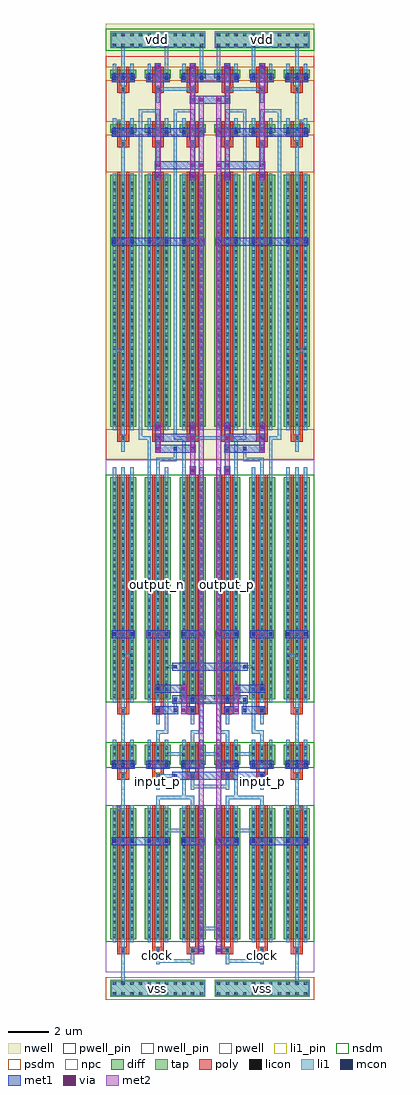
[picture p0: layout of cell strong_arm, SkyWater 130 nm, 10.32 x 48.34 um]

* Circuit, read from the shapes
.subckt strong_arm clock input_n input_p output_n output_p vdd vss
XM1 vss vss vss vss sky130_fd_pr__nfet_01v8 w=6.5 l=0.15 m=4
XM2 vss vss vss vss sky130_fd_pr__nfet_01v8 w=1 l=0.15 m=4
XM3 vss vss vss vss sky130_fd_pr__nfet_01v8 w=11 l=0.15 m=4
XM4 strong_arm_half_0/tail_d clock vss vss sky130_fd_pr__nfet_01v8 w=6.5 l=0.15 m=8
XM5 strong_arm_half_0/input_d_n input_p strong_arm_half_0/tail_d vss sky130_fd_pr__nfet_01v8 w=1 l=0.15 m=4
XM6 output_n output_p strong_arm_half_0/input_d_n vss sky130_fd_pr__nfet_01v8 w=11 l=0.15 m=4
XM7 strong_arm_half_0/input_d_p input_n strong_arm_half_0/tail_d vss sky130_fd_pr__nfet_01v8 w=1 l=0.15 m=2
XM8 output_p output_n strong_arm_half_0/input_d_p vss sky130_fd_pr__nfet_01v8 w=11 l=0.15 m=2
XM9 strong_arm_half_1/input_d_p input_n strong_arm_half_0/tail_d vss sky130_fd_pr__nfet_01v8 w=1 l=0.15 m=2
XM10 output_p output_n strong_arm_half_1/input_d_p vss sky130_fd_pr__nfet_01v8 w=11 l=0.15 m=2
XM11 vdd vdd vdd vdd sky130_fd_pr__pfet_01v8 w=12.5 l=0.15 m=4
XM12 vdd vdd vdd vdd sky130_fd_pr__pfet_01v8 w=0.42 l=0.15 m=8
XM13 output_n output_p vdd vdd sky130_fd_pr__pfet_01v8 w=12.5 l=0.15 m=4
XM14 strong_arm_half_0/input_d_n clock vdd vdd sky130_fd_pr__pfet_01v8 w=0.42 l=0.15 m=4
XM15 output_n clock vdd vdd sky130_fd_pr__pfet_01v8 w=0.42 l=0.15 m=4
XM16 output_p output_n vdd vdd sky130_fd_pr__pfet_01v8 w=12.5 l=0.15 m=4
XM17 strong_arm_half_0/input_d_p clock vdd vdd sky130_fd_pr__pfet_01v8 w=0.42 l=0.15 m=2
XM18 output_p clock vdd vdd sky130_fd_pr__pfet_01v8 w=0.42 l=0.15 m=4
XM19 strong_arm_half_1/input_d_p clock vdd vdd sky130_fd_pr__pfet_01v8 w=0.42 l=0.15 m=2
.ends

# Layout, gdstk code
from math import pi, radians
import gdstk
lib = gdstk.Library(unit=1e-6, precision=1e-09)
def R(c, l, rs):  # rectangles x0, y0, x1, y1
    for r in rs: c.add(gdstk.rectangle(r[:2], r[2:], *l))
def A(c, l, x, y, w, h, nx, ny, dx, dy):  # array of equal rectangles
    R(c, l, [(x+i*dx, y+j*dy, x+i*dx+w, y+j*dy+h) for i in range(nx) for j in range(ny)])
nwell_pin = (64, 16)
nwell = (64, 20)
pwell = (64, 44)
diff = (65, 20)
tap = (65, 44)
poly = (66, 20)
licon = (66, 44)
li1_pin = (67, 16)
li1 = (67, 20)
mcon = (67, 44)
met1 = (68, 20)
via = (68, 44)
met2 = (69, 20)
nsdm = (93, 44)
psdm = (94, 20)
npc = (95, 20)
pwell_pin = (122, 16)

ptap_tile_x11_y2 = lib.new_cell('ptap_tile_x11_y2')
R(ptap_tile_x11_y2, tap, [(-0.205,-0.15,4.505,0.69)])
A(ptap_tile_x11_y2, licon, -0.085, -0.085, 0.17, 0.17, 11, 2, 0.43, 0.54)
R(ptap_tile_x11_y2, li1_pin, [(-0.165,-0.085,4.465,0.625)])
R(ptap_tile_x11_y2, li1, [(-0.165,-0.085,4.465,0.625)])
R(ptap_tile_x11_y2, psdm, [(-0.43,-0.28,4.73,0.82)])
ptap_tile_x11_y2.add(gdstk.Label('vnb', (2.15,0.27), layer=67, texttype=5))

ptap_tile = lib.new_cell('ptap_tile')
R(ptap_tile, li1_pin, [(-0.165,-0.085,4.465,0.625)])
ptap_tile.add(gdstk.Reference(ptap_tile_x11_y2, (0,0)))
ptap_tile.add(gdstk.Label('x', (2.15,0.27), layer=67, texttype=5))

ntap_tile_x11_y2 = lib.new_cell('ntap_tile_x11_y2')
R(ntap_tile_x11_y2, nwell, [(-0.43,-0.54,4.73,1.08)])
R(ntap_tile_x11_y2, tap, [(-0.205,-0.15,4.505,0.69)])
A(ntap_tile_x11_y2, licon, -0.085, -0.085, 0.17, 0.17, 11, 2, 0.43, 0.54)
R(ntap_tile_x11_y2, li1_pin, [(-0.165,-0.085,4.465,0.625)])
R(ntap_tile_x11_y2, li1, [(-0.165,-0.085,4.465,0.625)])
R(ntap_tile_x11_y2, nsdm, [(-0.43,-0.28,4.73,0.82)])
ntap_tile_x11_y2.add(gdstk.Label('vpb', (2.15,0.27), layer=67, texttype=5))

ntap_tile = lib.new_cell('ntap_tile')
R(ntap_tile, li1_pin, [(-0.165,-0.085,4.465,0.625)])
ntap_tile.add(gdstk.Reference(ntap_tile_x11_y2, (0,0)))
ntap_tile.add(gdstk.Label('x', (2.15,0.27), layer=67, texttype=5))

nmos_tile_w6500_l150_nf2 = lib.new_cell('nmos_tile_w6500_l150_nf2')
R(nmos_tile_w6500_l150_nf2, pwell, [(0,-1.62,1.72,7.02)])
R(nmos_tile_w6500_l150_nf2, diff, [(0.215,0,1.505,6.5)])
R(nmos_tile_w6500_l150_nf2, poly, [(0.57,-0.735,0.945,-0.385), (0.57,-0.735,0.72,6.63), (0.775,-0.735,1.15,-0.385), (1,-0.735,1.15,6.63)])
A(nmos_tile_w6500_l150_nf2, licon, 0.345, 0.08, 0.17, 0.17, 3, 19, 0.43, 0.34)
R(nmos_tile_w6500_l150_nf2, licon, [(0.775,-0.645,0.945,-0.475)])
A(nmos_tile_w6500_l150_nf2, li1_pin, 0.345, -0.155, 0.17, 6.79, 3, 1, 0.43, 0)
R(nmos_tile_w6500_l150_nf2, li1_pin, [(0.775,-1.235,0.945,-0.385)])
A(nmos_tile_w6500_l150_nf2, li1, 0.345, -0.155, 0.17, 6.79, 3, 1, 0.43, 0)
R(nmos_tile_w6500_l150_nf2, li1, [(0.775,-1.235,0.945,-0.385)])
R(nmos_tile_w6500_l150_nf2, nsdm, [(0,-0.13,1.72,6.63)])
R(nmos_tile_w6500_l150_nf2, npc, [(0.675,-0.745,1.045,-0.375)])
R(nmos_tile_w6500_l150_nf2, pwell_pin, [(0,-1.62,1.72,7.02)])
nmos_tile_w6500_l150_nf2.add(gdstk.Label('sd_0', (0.43,3.24), layer=67, texttype=5))
nmos_tile_w6500_l150_nf2.add(gdstk.Label('sd_1', (0.86,3.24), layer=67, texttype=5))
nmos_tile_w6500_l150_nf2.add(gdstk.Label('sd_2', (1.29,3.24), layer=67, texttype=5))
nmos_tile_w6500_l150_nf2.add(gdstk.Label('g_0', (0.86,-0.81), layer=67, texttype=5))
nmos_tile_w6500_l150_nf2.add(gdstk.Label('b', (0.86,2.7), layer=64, texttype=59))

two_finger_mos_tile = lib.new_cell('two_finger_mos_tile')
A(two_finger_mos_tile, li1_pin, 0.345, -0.155, 0.17, 6.79, 3, 1, 0.43, 0)
R(two_finger_mos_tile, li1_pin, [(0.775,-1.235,0.945,-0.385)])
R(two_finger_mos_tile, li1, [(0.345,4.775,0.515,4.945), (0.345,4.775,0.515,4.945), (1.205,4.775,1.375,4.945), (1.205,4.775,1.375,4.945)])
R(two_finger_mos_tile, mcon, [(0.345,4.775,0.515,4.945), (1.205,4.775,1.375,4.945)])
R(two_finger_mos_tile, met1, [(0.285,4.66,0.575,5.06), (0.345,4.66,0.945,5.06), (0.775,4.66,1.375,5.06), (1.145,4.66,1.435,5.06)])
R(two_finger_mos_tile, pwell_pin, [(0,-1.62,1.72,7.02)])
two_finger_mos_tile.add(gdstk.Reference(nmos_tile_w6500_l150_nf2, (0,0)))
two_finger_mos_tile.add(gdstk.Label('d', (0.86,3.24), layer=67, texttype=5))
two_finger_mos_tile.add(gdstk.Label('g', (0.86,-0.81), layer=67, texttype=5))
two_finger_mos_tile.add(gdstk.Label('s', (1.29,3.24), layer=67, texttype=5))
two_finger_mos_tile.add(gdstk.Label('s', (0.43,3.24), layer=67, texttype=5))
two_finger_mos_tile.add(gdstk.Label('b', (0.86,2.7), layer=64, texttype=59))

nmos_tile_w1000_l150_nf2 = lib.new_cell('nmos_tile_w1000_l150_nf2')
R(nmos_tile_w1000_l150_nf2, pwell, [(0,-1.62,1.72,1.62)])
R(nmos_tile_w1000_l150_nf2, diff, [(0.215,0,1.505,1)])
R(nmos_tile_w1000_l150_nf2, poly, [(0.57,-0.735,0.945,-0.385), (0.57,-0.735,0.72,1.13), (0.775,-0.735,1.15,-0.385), (1,-0.735,1.15,1.13)])
A(nmos_tile_w1000_l150_nf2, licon, 0.345, 0.08, 0.17, 0.17, 3, 3, 0.43, 0.34)
R(nmos_tile_w1000_l150_nf2, licon, [(0.775,-0.645,0.945,-0.475)])
A(nmos_tile_w1000_l150_nf2, li1_pin, 0.345, -0.155, 0.17, 1.39, 3, 1, 0.43, 0)
R(nmos_tile_w1000_l150_nf2, li1_pin, [(0.775,-1.235,0.945,-0.385)])
A(nmos_tile_w1000_l150_nf2, li1, 0.345, -0.155, 0.17, 1.39, 3, 1, 0.43, 0)
R(nmos_tile_w1000_l150_nf2, li1, [(0.775,-1.235,0.945,-0.385)])
R(nmos_tile_w1000_l150_nf2, nsdm, [(0,-0.13,1.72,1.13)])
R(nmos_tile_w1000_l150_nf2, npc, [(0.675,-0.745,1.045,-0.375)])
R(nmos_tile_w1000_l150_nf2, pwell_pin, [(0,-1.62,1.72,1.62)])
nmos_tile_w1000_l150_nf2.add(gdstk.Label('sd_0', (0.43,0.54), layer=67, texttype=5))
nmos_tile_w1000_l150_nf2.add(gdstk.Label('sd_1', (0.86,0.54), layer=67, texttype=5))
nmos_tile_w1000_l150_nf2.add(gdstk.Label('sd_2', (1.29,0.54), layer=67, texttype=5))
nmos_tile_w1000_l150_nf2.add(gdstk.Label('g_0', (0.86,-0.81), layer=67, texttype=5))
nmos_tile_w1000_l150_nf2.add(gdstk.Label('b', (0.86,0), layer=64, texttype=59))

two_finger_mos_tile_1 = lib.new_cell('two_finger_mos_tile_1')
A(two_finger_mos_tile_1, li1_pin, 0.345, -0.155, 0.17, 1.39, 3, 1, 0.43, 0)
R(two_finger_mos_tile_1, li1_pin, [(0.775,-1.235,0.945,-0.385)])
R(two_finger_mos_tile_1, li1, [(0.345,-0.085,0.515,0.085), (0.345,-0.085,0.515,0.085), (1.205,-0.085,1.375,0.085), (1.205,-0.085,1.375,0.085)])
R(two_finger_mos_tile_1, mcon, [(0.345,-0.085,0.515,0.085), (1.205,-0.085,1.375,0.085)])
R(two_finger_mos_tile_1, met1, [(0.285,-0.2,0.575,0.2), (0.345,-0.2,0.945,0.2), (0.775,-0.2,1.375,0.2), (1.145,-0.2,1.435,0.2)])
R(two_finger_mos_tile_1, pwell_pin, [(0,-1.62,1.72,1.62)])
two_finger_mos_tile_1.add(gdstk.Reference(nmos_tile_w1000_l150_nf2, (0,0)))
two_finger_mos_tile_1.add(gdstk.Label('d', (0.86,0.54), layer=67, texttype=5))
two_finger_mos_tile_1.add(gdstk.Label('g', (0.86,-0.81), layer=67, texttype=5))
two_finger_mos_tile_1.add(gdstk.Label('s', (1.29,0.54), layer=67, texttype=5))
two_finger_mos_tile_1.add(gdstk.Label('s', (0.43,0.54), layer=67, texttype=5))
two_finger_mos_tile_1.add(gdstk.Label('b', (0.86,0), layer=64, texttype=59))

nmos_tile_w11000_l150_nf = lib.new_cell('nmos_tile_w11000_l150_nf2')
R(nmos_tile_w11000_l150_nf, pwell, [(0,-1.62,1.72,11.88)])
R(nmos_tile_w11000_l150_nf, diff, [(0.215,0,1.505,11)])
R(nmos_tile_w11000_l150_nf, poly, [(0.57,-0.735,0.945,-0.385), (0.57,-0.735,0.72,11.13), (0.775,-0.735,1.15,-0.385), (1,-0.735,1.15,11.13)])
A(nmos_tile_w11000_l150_nf, licon, 0.345, 0.08, 0.17, 0.17, 3, 32, 0.43, 0.34)
R(nmos_tile_w11000_l150_nf, licon, [(0.775,-0.645,0.945,-0.475)])
A(nmos_tile_w11000_l150_nf, li1_pin, 0.345, -0.155, 0.17, 11.65, 3, 1, 0.43, 0)
R(nmos_tile_w11000_l150_nf, li1_pin, [(0.775,-1.235,0.945,-0.385)])
A(nmos_tile_w11000_l150_nf, li1, 0.345, -0.155, 0.17, 11.65, 3, 1, 0.43, 0)
R(nmos_tile_w11000_l150_nf, li1, [(0.775,-1.235,0.945,-0.385)])
R(nmos_tile_w11000_l150_nf, nsdm, [(0,-0.13,1.72,11.13)])
R(nmos_tile_w11000_l150_nf, npc, [(0.675,-0.745,1.045,-0.375)])
R(nmos_tile_w11000_l150_nf, pwell_pin, [(0,-1.62,1.72,11.88)])
nmos_tile_w11000_l150_nf.add(gdstk.Label('sd_0', (0.43,5.67), layer=67, texttype=5))
nmos_tile_w11000_l150_nf.add(gdstk.Label('sd_1', (0.86,5.67), layer=67, texttype=5))
nmos_tile_w11000_l150_nf.add(gdstk.Label('sd_2', (1.29,5.67), layer=67, texttype=5))
nmos_tile_w11000_l150_nf.add(gdstk.Label('g_0', (0.86,-0.81), layer=67, texttype=5))
nmos_tile_w11000_l150_nf.add(gdstk.Label('b', (0.86,5.13), layer=64, texttype=59))

two_finger_mos_tile_2 = lib.new_cell('two_finger_mos_tile_2')
A(two_finger_mos_tile_2, li1_pin, 0.345, -0.155, 0.17, 11.65, 3, 1, 0.43, 0)
R(two_finger_mos_tile_2, li1_pin, [(0.775,-1.235,0.945,-0.385)])
R(two_finger_mos_tile_2, li1, [(0.345,3.155,0.515,3.325), (0.345,3.155,0.515,3.325), (1.205,3.155,1.375,3.325), (1.205,3.155,1.375,3.325)])
R(two_finger_mos_tile_2, mcon, [(0.345,3.155,0.515,3.325), (1.205,3.155,1.375,3.325)])
R(two_finger_mos_tile_2, met1, [(0.285,3.04,0.575,3.44), (0.345,3.04,0.945,3.44), (0.775,3.04,1.375,3.44), (1.145,3.04,1.435,3.44)])
R(two_finger_mos_tile_2, pwell_pin, [(0,-1.62,1.72,11.88)])
two_finger_mos_tile_2.add(gdstk.Reference(nmos_tile_w11000_l150_nf, (0,0)))
two_finger_mos_tile_2.add(gdstk.Label('d', (0.86,5.67), layer=67, texttype=5))
two_finger_mos_tile_2.add(gdstk.Label('g', (0.86,-0.81), layer=67, texttype=5))
two_finger_mos_tile_2.add(gdstk.Label('s', (1.29,5.67), layer=67, texttype=5))
two_finger_mos_tile_2.add(gdstk.Label('s', (0.43,5.67), layer=67, texttype=5))
two_finger_mos_tile_2.add(gdstk.Label('b', (0.86,5.13), layer=64, texttype=59))

pmos_tile_w12500_l150_nf = lib.new_cell('pmos_tile_w12500_l150_nf2')
R(pmos_tile_w12500_l150_nf, nwell_pin, [(0,-1.62,1.72,12.96)])
R(pmos_tile_w12500_l150_nf, nwell, [(0,-1.62,1.72,12.96)])
R(pmos_tile_w12500_l150_nf, diff, [(0.215,0,1.505,12.5)])
R(pmos_tile_w12500_l150_nf, poly, [(0.57,-0.735,0.945,-0.385), (0.57,-0.735,0.72,12.63), (0.775,-0.735,1.15,-0.385), (1,-0.735,1.15,12.63)])
A(pmos_tile_w12500_l150_nf, licon, 0.345, 0.08, 0.17, 0.17, 3, 36, 0.43, 0.34)
R(pmos_tile_w12500_l150_nf, licon, [(0.775,-0.645,0.945,-0.475)])
A(pmos_tile_w12500_l150_nf, li1_pin, 0.345, -0.155, 0.17, 12.73, 3, 1, 0.43, 0)
R(pmos_tile_w12500_l150_nf, li1_pin, [(0.775,-1.235,0.945,-0.385)])
A(pmos_tile_w12500_l150_nf, li1, 0.345, -0.155, 0.17, 12.73, 3, 1, 0.43, 0)
R(pmos_tile_w12500_l150_nf, li1, [(0.775,-1.235,0.945,-0.385)])
R(pmos_tile_w12500_l150_nf, psdm, [(0,-0.13,1.72,12.63)])
R(pmos_tile_w12500_l150_nf, npc, [(0.675,-0.745,1.045,-0.375)])
pmos_tile_w12500_l150_nf.add(gdstk.Label('sd_0', (0.43,6.21), layer=67, texttype=5))
pmos_tile_w12500_l150_nf.add(gdstk.Label('sd_1', (0.86,6.21), layer=67, texttype=5))
pmos_tile_w12500_l150_nf.add(gdstk.Label('sd_2', (1.29,6.21), layer=67, texttype=5))
pmos_tile_w12500_l150_nf.add(gdstk.Label('g_0', (0.86,-0.81), layer=67, texttype=5))
pmos_tile_w12500_l150_nf.add(gdstk.Label('b', (0.86,5.67), layer=64, texttype=5))

two_finger_mos_tile_3 = lib.new_cell('two_finger_mos_tile_3')
R(two_finger_mos_tile_3, nwell_pin, [(0,-1.62,1.72,12.96)])
A(two_finger_mos_tile_3, li1_pin, 0.345, -0.155, 0.17, 12.73, 3, 1, 0.43, 0)
R(two_finger_mos_tile_3, li1_pin, [(0.775,-1.235,0.945,-0.385)])
R(two_finger_mos_tile_3, li1, [(0.345,9.095,0.515,9.265), (0.345,9.095,0.515,9.265), (1.205,9.095,1.375,9.265), (1.205,9.095,1.375,9.265)])
R(two_finger_mos_tile_3, mcon, [(0.345,9.095,0.515,9.265), (1.205,9.095,1.375,9.265)])
R(two_finger_mos_tile_3, met1, [(0.285,8.98,0.575,9.38), (0.345,8.98,0.945,9.38), (0.775,8.98,1.375,9.38), (1.145,8.98,1.435,9.38)])
two_finger_mos_tile_3.add(gdstk.Reference(pmos_tile_w12500_l150_nf, (0,0)))
two_finger_mos_tile_3.add(gdstk.Label('d', (0.86,6.21), layer=67, texttype=5))
two_finger_mos_tile_3.add(gdstk.Label('g', (0.86,-0.81), layer=67, texttype=5))
two_finger_mos_tile_3.add(gdstk.Label('s', (1.29,6.21), layer=67, texttype=5))
two_finger_mos_tile_3.add(gdstk.Label('s', (0.43,6.21), layer=67, texttype=5))
two_finger_mos_tile_3.add(gdstk.Label('b', (0.86,5.67), layer=64, texttype=5))

pmos_tile_w420_l150_nf2 = lib.new_cell('pmos_tile_w420_l150_nf2')
R(pmos_tile_w420_l150_nf2, nwell_pin, [(0,-1.62,1.72,1.08)])
R(pmos_tile_w420_l150_nf2, nwell, [(0,-1.62,1.72,1.08)])
R(pmos_tile_w420_l150_nf2, diff, [(0.215,0,1.505,0.42)])
R(pmos_tile_w420_l150_nf2, poly, [(0.57,-0.735,0.945,-0.385), (0.57,-0.735,0.72,0.55), (0.775,-0.735,1.15,-0.385), (1,-0.735,1.15,0.55)])
A(pmos_tile_w420_l150_nf2, licon, 0.345, 0.08, 0.17, 0.17, 3, 1, 0.43, 0)
R(pmos_tile_w420_l150_nf2, licon, [(0.775,-0.645,0.945,-0.475)])
A(pmos_tile_w420_l150_nf2, li1_pin, 0.345, -0.155, 0.17, 0.85, 3, 1, 0.43, 0)
R(pmos_tile_w420_l150_nf2, li1_pin, [(0.775,-1.235,0.945,-0.385)])
A(pmos_tile_w420_l150_nf2, li1, 0.345, -0.155, 0.17, 0.85, 3, 1, 0.43, 0)
R(pmos_tile_w420_l150_nf2, li1, [(0.775,-1.235,0.945,-0.385)])
R(pmos_tile_w420_l150_nf2, psdm, [(0,-0.13,1.72,0.55)])
R(pmos_tile_w420_l150_nf2, npc, [(0.675,-0.745,1.045,-0.375)])
pmos_tile_w420_l150_nf2.add(gdstk.Label('sd_0', (0.43,0.27), layer=67, texttype=5))
pmos_tile_w420_l150_nf2.add(gdstk.Label('sd_1', (0.86,0.27), layer=67, texttype=5))
pmos_tile_w420_l150_nf2.add(gdstk.Label('sd_2', (1.29,0.27), layer=67, texttype=5))
pmos_tile_w420_l150_nf2.add(gdstk.Label('g_0', (0.86,-0.81), layer=67, texttype=5))
pmos_tile_w420_l150_nf2.add(gdstk.Label('b', (0.86,-0.27), layer=64, texttype=5))

two_finger_mos_tile_4 = lib.new_cell('two_finger_mos_tile_4')
R(two_finger_mos_tile_4, nwell_pin, [(0,-1.62,1.72,1.08)])
A(two_finger_mos_tile_4, li1_pin, 0.345, -0.155, 0.17, 0.85, 3, 1, 0.43, 0)
R(two_finger_mos_tile_4, li1_pin, [(0.775,-1.235,0.945,-0.385)])
R(two_finger_mos_tile_4, li1, [(0.345,-0.085,0.515,0.085), (0.345,-0.085,0.515,0.085), (1.205,-0.085,1.375,0.085), (1.205,-0.085,1.375,0.085)])
R(two_finger_mos_tile_4, mcon, [(0.345,-0.085,0.515,0.085), (1.205,-0.085,1.375,0.085)])
R(two_finger_mos_tile_4, met1, [(0.285,-0.2,0.575,0.2), (0.345,-0.2,0.945,0.2), (0.775,-0.2,1.375,0.2), (1.145,-0.2,1.435,0.2)])
two_finger_mos_tile_4.add(gdstk.Reference(pmos_tile_w420_l150_nf2, (0,0)))
two_finger_mos_tile_4.add(gdstk.Label('d', (0.86,0.27), layer=67, texttype=5))
two_finger_mos_tile_4.add(gdstk.Label('g', (0.86,-0.81), layer=67, texttype=5))
two_finger_mos_tile_4.add(gdstk.Label('s', (1.29,0.27), layer=67, texttype=5))
two_finger_mos_tile_4.add(gdstk.Label('s', (0.43,0.27), layer=67, texttype=5))
two_finger_mos_tile_4.add(gdstk.Label('b', (0.86,-0.27), layer=64, texttype=5))

strong_arm_half = lib.new_cell('strong_arm_half')
R(strong_arm_half, li1_pin, [(-0.165,-47.065,4.465,-46.355), (2.065,-45.515,2.235,-44.665), (2.065,-44.435,2.235,-37.645), (2.065,-36.875,2.235,-36.025), (3.785,-36.875,3.955,-36.025), (2.065,-35.795,2.235,-34.405), (3.785,-35.795,3.955,-34.405), (2.065,-32.555,2.235,-20.905), (3.785,-32.555,3.955,-20.905), (-0.165,-0.085,4.465,0.625)])
A(strong_arm_half, li1, 2.065, -45.445, 0.6, 0.17, 4, 2, 0.43, 8.1)
A(strong_arm_half, li1, 0.345, -37.885, 0.17, 0.71, 3, 2, 1.72, 3.24)
A(strong_arm_half, li1, 3.355, -37.345, 0.17, 0.71, 1, 3, 0, 0.54)
A(strong_arm_half, li1, 2.495, -34.105, 0.17, 0.71, 1, 3, 0, 0.54)
A(strong_arm_half, li1, 4.215, -34.105, 0.17, 0.71, 1, 3, 0, 0.54)
A(strong_arm_half, li1, 1.635, -21.145, 0.17, 0.71, 1, 3, 0, 0.54)
A(strong_arm_half, li1, 3.355, -21.145, 0.17, 0.71, 1, 3, 0, 0.54)
A(strong_arm_half, li1, 1.205, -19.525, 0.17, 0.71, 1, 25, 0, 0.54)
A(strong_arm_half, li1, 2.925, -19.525, 0.17, 0.71, 1, 25, 0, 0.54)
A(strong_arm_half, li1, 0.345, -6.565, 0.17, 0.71, 1, 3, 0, 1.62)
A(strong_arm_half, li1, 0.345, -6.025, 0.17, 0.71, 5, 2, 0.86, 2.16)
A(strong_arm_half, li1, 1.205, -5.485, 0.17, 0.71, 1, 3, 0, 0.54)
A(strong_arm_half, li1, 2.925, -5.485, 0.17, 0.71, 1, 3, 0, 0.54)
A(strong_arm_half, li1, 2.065, -2.245, 0.6, 0.17, 4, 1, 0.43, 0)
R(strong_arm_half, li1, [(0.345,-46.525,0.515,-45.815), (0.345,-45.985,0.515,-45.275), (0.345,-44.905,0.515,-44.195), (3.785,-44.905,4.385,-44.735), (4.215,-44.905,4.385,-44.735), (4.215,-44.905,4.385,-44.735), (2.495,-38.965,3.095,-38.795), (2.925,-38.965,3.525,-38.795), (-0.085,-37.885,0.515,-37.715), (0.345,-37.345,0.515,-36.635), (0.345,-36.265,0.515,-35.555), (0.345,-35.725,0.515,-35.555), (0.345,-35.725,0.515,-35.555), (2.495,-35.185,3.095,-35.015), (2.925,-35.185,3.525,-35.015), (0.345,-34.105,0.515,-33.395), (2.065,-34.105,2.665,-33.935), (3.785,-34.105,4.385,-33.935), (0.345,-33.025,0.515,-32.315), (2.065,-33.025,2.235,-32.855), (2.065,-33.025,2.235,-32.855), (2.925,-33.025,3.095,-32.315), (2.925,-33.025,3.095,-32.855), (2.925,-33.025,3.095,-32.855), (3.785,-33.025,3.955,-32.855), (3.785,-33.025,3.955,-32.855), (2.925,-32.485,3.095,-32.315), (2.925,-32.485,3.095,-32.315), (3.785,-32.485,3.955,-32.315), (3.785,-32.485,3.955,-32.315), (2.065,-31.945,2.235,-31.775), (2.065,-31.945,2.235,-31.775), (0.345,-30.325,0.945,-30.155), (2.065,-21.145,2.235,-20.435), (3.785,-21.145,3.955,-20.975), (3.785,-21.145,3.955,-20.975), (2.065,-20.605,2.665,-20.435), (2.495,-20.605,3.095,-20.435), (2.925,-20.605,3.095,-19.895), (2.925,-20.065,3.095,-19.895), (2.925,-20.065,3.095,-19.895), (3.785,-20.065,3.955,-19.895), (3.785,-20.065,3.955,-19.895), (0.345,-19.525,0.515,-18.815), (1.205,-19.525,1.805,-19.355), (2.065,-19.525,2.235,-19.355), (2.065,-19.525,2.235,-19.355), (2.925,-19.525,3.525,-19.355), (2.065,-18.985,2.235,-18.815), (2.065,-18.985,2.235,-18.815), (3.785,-18.985,3.955,-18.815), (3.785,-18.985,3.955,-18.815), (-0.085,-15.205,0.515,-15.035), (2.065,-6.565,2.235,-6.395), (2.065,-6.565,2.235,-6.395), (3.785,-6.565,3.955,-6.395), (3.785,-6.565,3.955,-6.395), (2.065,-6.025,2.235,-5.855), (2.065,-6.025,2.235,-5.855), (3.785,-6.025,3.955,-5.855), (3.785,-6.025,3.955,-5.855), (-0.085,-3.865,0.515,-3.695), (1.205,-3.325,1.805,-3.155), (1.635,-3.325,2.235,-3.155), (2.925,-3.325,3.525,-3.155), (3.355,-3.325,3.955,-3.155), (3.785,-2.785,3.955,-2.615), (3.785,-2.785,3.955,-2.615), (0.345,-2.245,0.515,-1.535), (0.345,-1.705,0.515,-1.535), (0.345,-1.705,0.515,-1.535), (0.345,-1.165,0.515,-0.455), (2.065,-1.165,2.235,-0.995), (2.065,-1.165,2.235,-0.995), (2.495,-1.165,2.665,-0.455), (3.785,-1.165,3.955,-0.995), (3.785,-1.165,3.955,-0.995), (4.215,-1.165,4.385,-0.455), (0.345,-0.625,0.515,0.085), (2.495,-0.625,2.665,0.085), (4.215,-0.625,4.385,0.085)])
A(strong_arm_half, mcon, 2.065, -33.025, 0.17, 0.17, 3, 1, 0.86, 0)
A(strong_arm_half, mcon, 3.785, -21.145, 0.17, 0.17, 1, 3, 0, 1.08)
R(strong_arm_half, mcon, [(4.215,-44.905,4.385,-44.735), (0.345,-35.725,0.515,-35.555), (2.925,-32.485,3.095,-32.315), (3.785,-32.485,3.955,-32.315), (2.065,-31.945,2.235,-31.775), (2.925,-20.065,3.095,-19.895), (2.065,-19.525,2.235,-19.355), (2.065,-18.985,2.235,-18.815), (2.065,-6.565,2.235,-6.395), (3.785,-6.565,3.955,-6.395), (2.065,-6.025,2.235,-5.855), (3.785,-6.025,3.955,-5.855), (3.785,-2.785,3.955,-2.615), (0.345,-1.705,0.515,-1.535), (2.065,-1.165,2.235,-0.995), (3.785,-1.165,3.955,-0.995)])
A(strong_arm_half, met1, 2.005, -33.14, 0.29, 0.4, 3, 1, 0.86, 0)
A(strong_arm_half, met1, 2.065, -32.06, 0.6, 0.4, 3, 1, 0.43, 0)
A(strong_arm_half, met1, 3.725, -21.26, 0.29, 0.4, 1, 3, 0, 1.08)
A(strong_arm_half, met1, 2.065, -20.18, 0.6, 0.4, 4, 2, 0.43, 0.54)
A(strong_arm_half, met1, 2.065, -6.14, 0.6, 0.4, 5, 1, 0.43, 0)
R(strong_arm_half, met1, [(4.155,-45.02,4.445,-44.62), (4.17,-45.02,4.43,-44.62), (4.215,-45.02,4.385,-44.62), (0.775,-39.62,1.375,-39.22), (1.205,-39.62,1.805,-39.22), (0.285,-35.84,0.575,-35.44), (2.065,-33.14,2.665,-32.74), (2.495,-33.14,3.095,-32.74), (3.31,-33.14,3.57,-32.74), (3.355,-33.14,3.955,-32.74), (3.355,-33.14,3.525,-32.74), (2.865,-32.6,3.155,-32.2), (2.925,-32.6,3.525,-32.2), (3.355,-32.6,3.955,-32.2), (3.725,-32.6,4.015,-32.2), (2.005,-32.06,2.295,-31.66), (3.31,-32.06,3.57,-31.66), (3.355,-32.06,3.525,-31.66), (3.74,-21.26,4,-20.86), (3.785,-21.26,3.955,-20.86), (2.02,-20.18,2.28,-19.78), (2.065,-20.18,2.235,-19.78), (2.865,-20.18,3.155,-19.78), (2.005,-19.64,2.295,-19.24), (3.74,-19.64,4,-19.24), (3.785,-19.64,3.955,-19.24), (2.005,-19.1,2.295,-18.7), (2.02,-19.1,2.28,-18.7), (2.065,-19.1,2.235,-18.7), (3.74,-19.1,4,-18.7), (3.785,-19.1,3.955,-18.7), (0.775,-9.92,1.375,-9.52), (1.205,-9.92,1.805,-9.52), (2.495,-9.92,3.095,-9.52), (2.925,-9.92,3.525,-9.52), (2.005,-6.68,2.295,-6.28), (2.02,-6.68,2.28,-6.28), (2.065,-6.68,2.235,-6.28), (3.725,-6.68,4.015,-6.28), (3.74,-6.68,4,-6.28), (3.785,-6.68,3.955,-6.28), (2.005,-6.14,2.295,-5.74), (3.725,-6.14,4.015,-5.74), (4.17,-6.14,4.43,-5.74), (4.215,-6.14,4.385,-5.74), (0.775,-4.52,1.375,-4.12), (1.205,-4.52,1.805,-4.12), (2.495,-4.52,3.095,-4.12), (2.925,-4.52,3.525,-4.12), (3.725,-2.9,4.015,-2.5), (3.785,-2.9,4.385,-2.5), (4.17,-2.9,4.43,-2.5), (4.215,-2.9,4.385,-2.5), (0.285,-1.82,0.575,-1.42), (2.005,-1.28,2.295,-0.88), (2.02,-1.28,2.28,-0.88), (2.065,-1.28,2.235,-0.88), (3.725,-1.28,4.015,-0.88), (3.74,-1.28,4,-0.88), (3.785,-1.28,3.955,-0.88)])
R(strong_arm_half, via, [(4.225,-44.895,4.375,-44.745), (3.365,-33.015,3.515,-32.865), (3.365,-31.935,3.515,-31.785), (3.795,-21.135,3.945,-20.985), (2.075,-20.055,2.225,-19.905), (3.795,-19.515,3.945,-19.365), (2.075,-18.975,2.225,-18.825), (3.795,-18.975,3.945,-18.825), (2.075,-6.555,2.225,-6.405), (3.795,-6.555,3.945,-6.405), (4.225,-6.015,4.375,-5.865), (4.225,-2.775,4.375,-2.625), (2.075,-1.155,2.225,-1.005), (3.795,-1.155,3.945,-1.005)])
A(strong_arm_half, met2, 4.17, -44.95, 0.26, 0.8, 1, 78, 0, 0.54)
A(strong_arm_half, met2, 3.74, -21.19, 0.26, 0.8, 1, 4, 0, 0.54)
A(strong_arm_half, met2, 2.02, -6.61, 0.26, 0.8, 1, 10, 0, 0.54)
A(strong_arm_half, met2, 3.74, -6.61, 0.26, 0.8, 1, 10, 0, 0.54)
R(strong_arm_half, met2, [(4.17,-45.02,4.43,-44.62), (3.31,-33.14,3.57,-32.74), (3.31,-33.07,3.57,-32.27), (3.31,-32.53,3.57,-31.73), (3.31,-32.06,3.57,-31.66), (3.74,-21.26,4,-20.86), (2.02,-20.18,2.28,-19.78), (2.02,-20.11,2.28,-19.31), (3.74,-19.64,4,-19.24), (2.02,-19.57,2.28,-18.77), (2.02,-19.1,2.28,-18.7), (3.74,-19.1,4,-18.7), (2.02,-6.68,2.28,-6.28), (3.74,-6.68,4,-6.28), (4.17,-6.14,4.43,-5.74), (4.17,-2.9,4.43,-2.5), (2.02,-1.28,2.28,-0.88), (3.74,-1.28,4,-0.88)])
strong_arm_half.add(gdstk.Reference(ptap_tile, (0,-46.98)))
strong_arm_half.add(gdstk.Reference(ntap_tile, (0,0)))
strong_arm_half.add(gdstk.Reference(two_finger_mos_tile, (1.29,-44.28)))
strong_arm_half.add(gdstk.Reference(two_finger_mos_tile, (3.01,-44.28)))
strong_arm_half.add(gdstk.Reference(two_finger_mos_tile, (-0.43,-44.28)))
strong_arm_half.add(gdstk.Reference(two_finger_mos_tile_1, (1.29,-35.64)))
strong_arm_half.add(gdstk.Reference(two_finger_mos_tile_1, (3.01,-35.64)))
strong_arm_half.add(gdstk.Reference(two_finger_mos_tile_1, (-0.43,-35.64)))
strong_arm_half.add(gdstk.Reference(two_finger_mos_tile_2, (1.29,-32.4)))
strong_arm_half.add(gdstk.Reference(two_finger_mos_tile_2, (3.01,-32.4)))
strong_arm_half.add(gdstk.Reference(two_finger_mos_tile_2, (-0.43,-32.4)))
strong_arm_half.add(gdstk.Reference(two_finger_mos_tile_3, (1.29,-18.9)))
strong_arm_half.add(gdstk.Reference(two_finger_mos_tile_3, (3.01,-18.9)))
strong_arm_half.add(gdstk.Reference(two_finger_mos_tile_3, (-0.43,-18.9)))
strong_arm_half.add(gdstk.Reference(two_finger_mos_tile_4, (1.29,-1.62)))
strong_arm_half.add(gdstk.Reference(two_finger_mos_tile_4, (3.01,-1.62)))
strong_arm_half.add(gdstk.Reference(two_finger_mos_tile_4, (-0.43,-1.62)))
strong_arm_half.add(gdstk.Reference(two_finger_mos_tile_4, (1.29,-4.32)))
strong_arm_half.add(gdstk.Reference(two_finger_mos_tile_4, (3.01,-4.32)))
strong_arm_half.add(gdstk.Reference(two_finger_mos_tile_4, (-0.43,-4.32)))
strong_arm_half.add(gdstk.Label('top_io_input_p', (2.15,-36.45), layer=67, texttype=5))
strong_arm_half.add(gdstk.Label('top_io_input_n', (3.87,-36.45), layer=67, texttype=5))
strong_arm_half.add(gdstk.Label('top_io_output_p', (3.87,-26.73), layer=67, texttype=5))
strong_arm_half.add(gdstk.Label('top_io_output_n', (2.15,-26.73), layer=67, texttype=5))
strong_arm_half.add(gdstk.Label('top_io_clock', (2.15,-45.09), layer=67, texttype=5))
strong_arm_half.add(gdstk.Label('top_io_vdd', (2.15,0.27), layer=67, texttype=5))
strong_arm_half.add(gdstk.Label('top_io_vss', (2.15,-46.71), layer=67, texttype=5))
strong_arm_half.add(gdstk.Label('input_d_p', (3.87,-35.1), layer=67, texttype=5))
strong_arm_half.add(gdstk.Label('input_d_n', (2.15,-35.1), layer=67, texttype=5))
strong_arm_half.add(gdstk.Label('tail_d', (2.15,-41.04), layer=67, texttype=5))

strong_arm = lib.new_cell('strong_arm')
A(strong_arm, li1_pin, 2.065, -36.875, 0.17, 0.85, 4, 1, 1.72, 0)
A(strong_arm, li1_pin, 2.065, -32.555, 0.17, 11.65, 4, 1, 1.72, 0)
R(strong_arm, li1_pin, [(-0.165,-47.065,4.465,-46.355), (4.995,-47.065,9.625,-46.355), (2.065,-45.515,2.235,-44.665), (7.225,-45.515,7.395,-44.665), (-0.165,-0.085,4.465,0.625), (4.995,-0.085,9.625,0.625)])
A(strong_arm, li1, 3.785, -36.805, 0.6, 0.17, 4, 2, 0.43, 17.28)
R(strong_arm, li1, [(4.215,-43.825,4.815,-43.655), (4.645,-43.825,5.245,-43.655), (2.065,-36.265,2.665,-36.095), (2.495,-36.265,3.095,-36.095), (2.925,-36.265,3.095,-36.095), (2.925,-36.265,3.095,-36.095), (7.225,-36.265,7.395,-36.095), (7.225,-36.265,7.395,-36.095), (4.215,-35.185,4.815,-35.015), (4.645,-35.185,5.245,-35.015), (2.495,-30.865,3.095,-30.695), (2.925,-30.865,3.095,-30.695), (2.925,-30.865,3.095,-30.695), (6.365,-30.865,6.965,-30.695), (6.365,-30.865,6.535,-30.695), (6.365,-30.865,6.535,-30.695)])
R(strong_arm, mcon, [(2.925,-36.265,3.095,-36.095), (7.225,-36.265,7.395,-36.095), (2.925,-30.865,3.095,-30.695), (6.365,-30.865,6.535,-30.695)])
A(strong_arm, met1, 2.925, -36.38, 0.6, 0.4, 10, 1, 0.43, 0)
A(strong_arm, met1, 3.785, -32.6, 0.6, 0.4, 4, 1, 0.43, 0)
A(strong_arm, met1, 2.925, -30.98, 0.6, 0.4, 8, 1, 0.43, 0)
R(strong_arm, met1, [(2.865,-36.38,3.155,-35.98), (7.165,-36.38,7.455,-35.98), (2.865,-30.98,3.155,-30.58), (6.305,-30.98,6.595,-30.58), (4.215,-2.9,4.815,-2.5), (4.645,-2.9,5.245,-2.5), (4.215,-1.82,4.815,-1.42), (4.645,-1.82,5.245,-1.42)])
strong_arm.add(gdstk.Reference(strong_arm_half, (0,0)))
strong_arm.add(gdstk.Reference(strong_arm_half, (9.46,0), rotation=pi, x_reflection=True))
strong_arm.add(gdstk.Label('input_p', (7.31,-36.45), layer=67, texttype=5))
strong_arm.add(gdstk.Label('input_p', (2.15,-36.45), layer=67, texttype=5))
strong_arm.add(gdstk.Label('input_n', (5.59,-36.45), layer=67, texttype=5))
strong_arm.add(gdstk.Label('input_n', (3.87,-36.45), layer=67, texttype=5))
strong_arm.add(gdstk.Label('output_p', (5.59,-26.73), layer=67, texttype=5))
strong_arm.add(gdstk.Label('output_p', (3.87,-26.73), layer=67, texttype=5))
strong_arm.add(gdstk.Label('output_n', (7.31,-26.73), layer=67, texttype=5))
strong_arm.add(gdstk.Label('output_n', (2.15,-26.73), layer=67, texttype=5))
strong_arm.add(gdstk.Label('clock', (7.31,-45.09), layer=67, texttype=5))
strong_arm.add(gdstk.Label('clock', (2.15,-45.09), layer=67, texttype=5))
strong_arm.add(gdstk.Label('vdd', (7.31,0.27), layer=67, texttype=5))
strong_arm.add(gdstk.Label('vdd', (2.15,0.27), layer=67, texttype=5))
strong_arm.add(gdstk.Label('vss', (7.31,-46.71), layer=67, texttype=5))
strong_arm.add(gdstk.Label('vss', (2.15,-46.71), layer=67, texttype=5))

lib.write_gds('strong_arm.gds')
